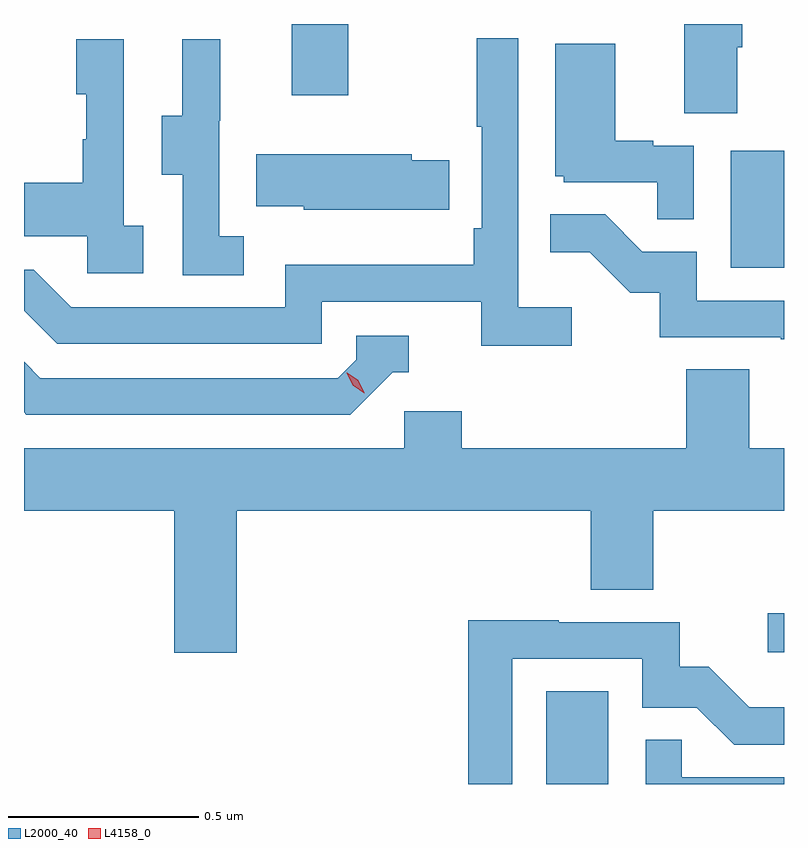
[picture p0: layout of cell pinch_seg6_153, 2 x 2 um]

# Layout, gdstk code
import gdstk
lib = gdstk.Library(unit=1e-6, precision=1e-09)
def R(c, l, rs):  # rectangles x0, y0, x1, y1
    for r in rs: c.add(gdstk.rectangle(r[:2], r[2:], *l))
def P(c, l, *ps):  # polygons
    for p in ps: c.add(gdstk.Polygon(p, *l))
L2000_40 = (2000, 40)
L4158_0 = (4158, 0)

pinch_seg6_153 = lib.new_cell('pinch_seg6_153')
R(pinch_seg6_153, L2000_40, [(969.182,921.309,969.346,921.553), (969.765,921.656,969.808,921.758), (969.668,922.668,969.808,922.975), (968.513,923.121,968.661,923.309)])
P(pinch_seg6_153, L2000_40, [(969.685,923.248),(969.698,923.248),(969.698,923.309),(969.545,923.309),(969.545,923.074),(969.685,923.074)],
  [(969.25,922.564),(969.108,922.564),(969.108,923.272),(969,923.272),(969,923.038),(969.012,923.038),(969.012,922.771),(968.992,922.771),(968.992,922.675),(968.496,922.675),(968.496,922.563),(967.932,922.563),(967.833,922.662),(967.808,922.662),(967.808,922.554),(967.895,922.467),(968.592,922.467),(968.592,922.578),(969.011,922.578),(969.011,922.462),(969.25,922.462)],
  [(968.386,922.751),(968.322,922.751),(968.322,923.055),(968.324,923.055),(968.324,923.269),(968.225,923.269),(968.225,923.067),(968.171,923.067),(968.171,922.912),(968.226,922.912),(968.226,922.648),(968.386,922.648)],
  [(968.122,922.778),(968.07,922.778),(968.07,923.269),(967.946,923.269),(967.946,923.124),(967.972,923.124),(967.972,923.006),(967.962,923.006),(967.962,922.891),(967.808,922.891),(967.808,922.751),(967.974,922.751),(967.974,922.653),(968.122,922.653)],
  [(969.57,922.989),(969.464,922.989),(969.464,923.002),(969.364,923.002),(969.364,923.257),(969.206,923.257),(969.206,922.908),(969.228,922.908),(969.228,922.893),(969.475,922.893),(969.475,922.795),(969.57,922.795)],
  [(968.927,922.95),(968.829,922.95),(968.829,922.966),(968.419,922.966),(968.419,922.829),(968.544,922.829),(968.544,922.82),(968.927,922.82)],
  [(969.808,922.581),(969.579,922.581),(969.579,922.71),(969.435,922.71),(969.337,922.808),(969.193,922.808),(969.193,922.709),(969.297,922.709),(969.404,922.602),(969.481,922.602),(969.481,922.485),(969.799,922.485),(969.799,922.48),(969.808,922.48)],
  [(968.778,922.392),(968.821,922.392),(968.821,922.488),(968.682,922.488),(968.682,922.425),(968.634,922.377),(967.851,922.377),(967.808,922.42),(967.808,922.287),(967.814,922.281),(968.667,922.281)],
  [(968.368,922.028),(969.299,922.028),(969.299,921.82),(969.464,921.82),(969.464,922.028),(969.808,922.028),(969.808,922.192),(969.716,922.192),(969.716,922.4),(969.551,922.4),(969.551,922.192),(968.96,922.192),(968.96,922.29),(968.808,922.29),(968.808,922.192),(967.808,922.192),(967.808,922.028),(968.204,922.028),(968.204,921.654),(968.368,921.654)],
  [(969.093,921.639),(969.435,921.639),(969.435,921.51),(969.579,921.51),(969.677,921.412),(969.808,921.412),(969.808,921.511),(969.717,921.511),(969.61,921.618),(969.534,921.618),(969.534,921.735),(969.215,921.735),(969.215,921.74),(968.977,921.74),(968.977,921.309),(969.093,921.309)],
  [(969.808,921.327),(969.539,921.327),(969.539,921.425),(969.444,921.425),(969.444,921.309),(969.808,921.309)])
P(pinch_seg6_153, L4158_0, [(968.703,922.337),(968.673,922.358),(968.657,922.391),(968.657,922.391),(968.658,922.391),(968.688,922.371),(968.704,922.338),(968.704,922.337)])

lib.write_gds('pinch_seg6_153.gds')
